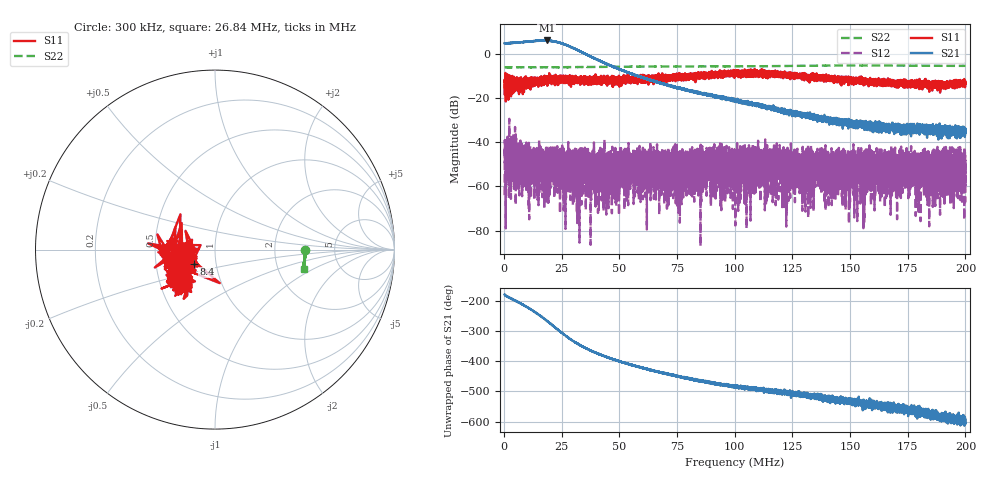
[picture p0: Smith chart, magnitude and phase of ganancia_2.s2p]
# Hz S DB R 50
! CMT, M5065, 19127446, 24.2.4/2
! Date: 11/8/2024 2:37:34 PM
! Data: Format (Calibration Info)
! Freq	S11:dB/Ang(F2)	S21:dB/Ang(F2)	S12:dB/Ang(F2)	S22:dB/Ang(F2)
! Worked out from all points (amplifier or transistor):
!   9000 points, 300 kHz to 200 MHz, reference 50 ohm
!   highest |S21| = 6.2 dB at 18.56 MHz (marker M1)
!   |S21| within 3 dB of that: start of sweep to 29.05 MHz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
!   unconditionally stable (mu >= 1): start of sweep to end of sweep
!   at 33.59 MHz: K = 201.34, MAG = 2.4 dB, |S12| = -56.1 dB
!   at 100.2 MHz: K = 732.12, MAG = -19.3 dB, |S12| = -46.0 dB
!   at 200 MHz: K = 38518.58, MAG = -32.2 dB, |S12| = -67.2 dB
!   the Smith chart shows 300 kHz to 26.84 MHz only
!   S11 on the Smith chart (normalised r, x): 300 kHz: 0.60, -0.09; 8.4 MHz: 0.78, -0.13; 26.84 MHz: 0.64, -0.27
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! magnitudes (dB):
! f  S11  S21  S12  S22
! 300 kHz  -11.8  4.9  -64.0  -6.0
! 1.321 MHz  -13.5  4.9  -42.9  -6.0
! 1.853 MHz  -17.7  5.0  -39.7  -6.0
! 8.4 MHz  -16.8  5.5  -50.9  -6.0
! 18.56 MHz  -11.0  6.2  -48.2  -6.0
! 25.04 MHz  -11.0  4.8  -51.2  -6.0
! 26.84 MHz  -11.3  4.2  -45.7  -5.9
! 33.59 MHz  -12.7  0.9  -56.1  -5.9
! 40.18 MHz  -11.5  -2.4  -51.3  -5.9
! 42.18 MHz  -12.2  -3.4  -56.5  -5.8
! 47.88 MHz  -12.0  -6.0  -58.1  -5.8
! 66.87 MHz  -11.2  -12.9  -44.1  -5.7
! 100.2 MHz  -8.8  -21.4  -46.0  -5.6
! 119.6 MHz  -9.7  -25.5  -46.7  -5.4
! 121.6 MHz  -9.9  -25.2  -51.7  -5.4
! 133.4 MHz  -9.7  -28.2  -51.4  -5.3
! 136.2 MHz  -11.6  -29.6  -56.7  -5.3
! 166.7 MHz  -12.6  -35.5  -58.0  -5.2
! 191.3 MHz  -13.7  -34.5  -50.4  -5.3
! 197.3 MHz  -13.8  -33.8  -46.8  -5.4
! 199 MHz  -14.0  -34.2  -51.6  -5.4
! 200 MHz  -13.1  -34.0  -67.2  -5.3
